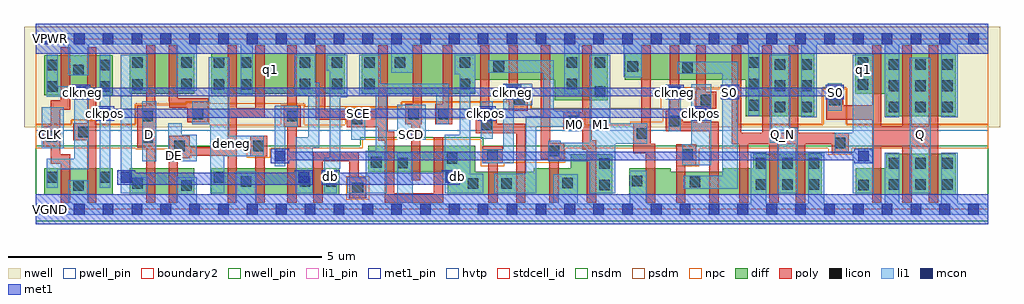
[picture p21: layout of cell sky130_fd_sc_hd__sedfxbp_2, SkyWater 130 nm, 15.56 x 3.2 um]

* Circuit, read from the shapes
.subckt sky130_fd_sc_hd__sedfxbp_2 CLK D DE Q Q_N SCD SCE VGND VNB VPB VPWR
XM1 VGND CLK n1 VNB sky130_fd_pr__nfet_01v8 w=0.42 l=0.15
XM2 n2 n1 VGND VNB sky130_fd_pr__nfet_01v8 w=0.42 l=0.15
XM3 n3 D n4 VNB sky130_fd_pr__nfet_01v8 w=0.42 l=0.15
XM4 VGND DE n3 VNB sky130_fd_pr__nfet_01v8 w=0.42 l=0.15
XM5 VGND DE n5 VNB sky130_fd_pr__nfet_01v8 w=0.42 l=0.15
XM6 n6 n5 VGND VNB sky130_fd_pr__nfet_01v8 w=0.42 l=0.15
XM7 n4 n7 n6 VNB sky130_fd_pr__nfet_01v8 w=0.42 l=0.15
XM8 n8 n9 n4 VNB sky130_fd_pr__nfet_01v8 w=0.42 l=0.15
XM9 VGND SCE n9 VNB sky130_fd_pr__nfet_01v8 w=0.42 l=0.15
XM10 n10 SCD VGND VNB sky130_fd_pr__nfet_01v8 w=0.42 l=0.15
XM11 n8 SCE n10 VNB sky130_fd_pr__nfet_01v8 w=0.42 l=0.15
XM12 n11 n1 n8 VNB sky130_fd_pr__nfet_01v8 w=0.36 l=0.15
XM13 n12 n2 n11 VNB sky130_fd_pr__nfet_01v8 w=0.36 l=0.15
XM14 VGND n13 n12 VNB sky130_fd_pr__nfet_01v8 w=0.42 l=0.15
XM15 n13 n11 VGND VNB sky130_fd_pr__nfet_01v8 w=0.64 l=0.15
XM16 n14 n13 VGND VNB sky130_fd_pr__nfet_01v8 w=0.42 l=0.15
XM17 n15 n2 n14 VNB sky130_fd_pr__nfet_01v8 w=0.36 l=0.15
XM18 n16 n1 n15 VNB sky130_fd_pr__nfet_01v8 w=0.36 l=0.15
XM19 VGND n7 n16 VNB sky130_fd_pr__nfet_01v8 w=0.42 l=0.15
XM20 Q_N n7 VGND VNB sky130_fd_pr__nfet_01v8 w=0.65 l=0.15 m=2
XM21 VGND n15 n7 VNB sky130_fd_pr__nfet_01v8 w=0.42 l=0.15
XM22 Q n15 VGND VNB sky130_fd_pr__nfet_01v8 w=0.65 l=0.15 m=2
XM23 VPWR CLK n1 VPB sky130_fd_pr__pfet_01v8_hvt w=0.64 l=0.15
XM24 n2 n1 VPWR VPB sky130_fd_pr__pfet_01v8_hvt w=0.64 l=0.15
XM25 n17 D n4 VPB sky130_fd_pr__pfet_01v8_hvt w=0.64 l=0.15
XM26 VPWR n5 n17 VPB sky130_fd_pr__pfet_01v8_hvt w=0.64 l=0.15
XM27 VPWR DE n5 VPB sky130_fd_pr__pfet_01v8_hvt w=0.64 l=0.15
XM28 n18 DE VPWR VPB sky130_fd_pr__pfet_01v8_hvt w=0.64 l=0.15
XM29 n4 n7 n18 VPB sky130_fd_pr__pfet_01v8_hvt w=0.64 l=0.15
XM30 n8 SCE n4 VPB sky130_fd_pr__pfet_01v8_hvt w=0.64 l=0.15
XM31 VPWR SCE n9 VPB sky130_fd_pr__pfet_01v8_hvt w=0.64 l=0.15
XM32 n19 SCD VPWR VPB sky130_fd_pr__pfet_01v8_hvt w=0.64 l=0.15
XM33 n8 n9 n19 VPB sky130_fd_pr__pfet_01v8_hvt w=0.64 l=0.15
XM34 n11 n2 n8 VPB sky130_fd_pr__pfet_01v8_hvt w=0.42 l=0.15
XM35 n20 n1 n11 VPB sky130_fd_pr__pfet_01v8_hvt w=0.42 l=0.15
XM36 VPWR n13 n20 VPB sky130_fd_pr__pfet_01v8_hvt w=0.42 l=0.15
XM37 n13 n11 VPWR VPB sky130_fd_pr__pfet_01v8_hvt w=0.75 l=0.15
XM38 n21 n13 VPWR VPB sky130_fd_pr__pfet_01v8_hvt w=0.42 l=0.15
XM39 n15 n1 n21 VPB sky130_fd_pr__pfet_01v8_hvt w=0.42 l=0.15
XM40 n22 n2 n15 VPB sky130_fd_pr__pfet_01v8_hvt w=0.42 l=0.15
XM41 VPWR n7 n22 VPB sky130_fd_pr__pfet_01v8_hvt w=0.42 l=0.15
XM42 Q_N n7 VPWR VPB sky130_fd_pr__pfet_01v8_hvt w=1 l=0.15 m=2
XM43 VPWR n15 n7 VPB sky130_fd_pr__pfet_01v8_hvt w=0.64 l=0.15
XM44 Q n15 VPWR VPB sky130_fd_pr__pfet_01v8_hvt w=1 l=0.15 m=2
.ends

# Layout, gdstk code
import gdstk
lib = gdstk.Library(unit=1e-6, precision=1e-09)
def R(c, l, rs):  # rectangles x0, y0, x1, y1
    for r in rs: c.add(gdstk.rectangle(r[:2], r[2:], *l))
def A(c, l, x, y, w, h, nx, ny, dx, dy):  # array of equal rectangles
    R(c, l, [(x+i*dx, y+j*dy, x+i*dx+w, y+j*dy+h) for i in range(nx) for j in range(ny)])
def P(c, l, *ps):  # polygons
    for p in ps: c.add(gdstk.Polygon(p, *l))
nwell_pin = (64, 16)
nwell = (64, 20)
diff = (65, 20)
poly = (66, 20)
licon = (66, 44)
li1_pin = (67, 16)
li1 = (67, 20)
mcon = (67, 44)
met1_pin = (68, 16)
met1 = (68, 20)
hvtp = (78, 44)
stdcell_id = (81, 4)
nsdm = (93, 44)
psdm = (94, 20)
npc = (95, 20)
pwell_pin = (122, 16)
boundary2 = (236, 0)

sky130_fd_sc_hd__sedfxbp = lib.new_cell('sky130_fd_sc_hd__sedfxbp_2')
R(sky130_fd_sc_hd__sedfxbp, nwell_pin, [(0.145,2.635,0.315,2.805), (0.145,2.635,0.315,2.805)])
P(sky130_fd_sc_hd__sedfxbp, nwell, [(-0.19,1.305),(-0.19,2.91),(15.37,2.91),(15.37,1.305),(7.2,1.305),(7.2,1.435),(4.885,1.435),(4.885,1.305)])
R(sky130_fd_sc_hd__sedfxbp, diff, [(0.135,0.235,1.225,0.655), (1.495,0.235,2.525,0.655), (2.795,0.235,4.835,0.655), (0.135,1.815,1.225,2.455), (1.495,1.845,2.525,2.485), (2.795,1.845,4.925,2.485)])
P(sky130_fd_sc_hd__sedfxbp, diff, [(8.275,1.735),(8.275,2.065),(7.005,2.065),(7.005,1.845),(5.195,1.845),(5.195,2.485),(9.12,2.485),(9.12,1.735)],
  [(6.565,0.235),(6.565,0.595),(5.3,0.595),(5.3,1.015),(7.005,1.015),(7.005,0.595),(7.935,0.595),(7.935,0.655),(8.53,0.655),(8.53,0.875),(9.19,0.875),(9.19,0.235)],
  [(11.32,1.485),(11.32,2.065),(9.39,2.065),(9.39,2.485),(12.41,2.485),(12.41,1.485)],
  [(9.46,0.235),(9.46,0.655),(10.12,0.655),(10.12,0.595),(10.96,0.595),(10.96,0.655),(11.435,0.655),(11.435,0.885),(12.525,0.885),(12.525,0.235)],
  [(13.555,1.485),(13.555,1.845),(13.06,1.845),(13.06,2.485),(14.665,2.485),(14.665,1.485)],
  [(13.07,0.235),(13.07,0.655),(13.555,0.655),(13.555,0.885),(14.665,0.885),(14.665,0.235)])
P(sky130_fd_sc_hd__sedfxbp, poly, [(0.395,0.105),(0.395,0.73),(0.235,0.73),(0.235,0.995),(0.115,0.995),(0.115,1.325),(0.235,1.325),(0.235,1.74),(0.395,1.74),(0.395,2.585),(0.545,2.585),(0.545,1.59),(0.385,1.59),(0.385,0.88),(0.545,0.88),(0.545,0.105)],
  [(0.815,0.105),(0.815,1.1),(0.595,1.1),(0.595,1.37),(0.815,1.37),(0.815,2.585),(0.965,2.585),(0.965,0.105)],
  [(1.755,0.105),(1.755,0.98),(1.615,0.98),(1.615,1.65),(1.755,1.65),(1.755,2.615),(1.905,2.615),(1.905,1.65),(1.915,1.65),(1.915,0.98),(1.905,0.98),(1.905,0.105)],
  [(2.415,1.385),(2.415,1.62),(2.125,1.62),(2.125,1.715),(2.115,1.715),(2.115,2.615),(2.265,2.615),(2.265,1.77),(2.745,1.77),(2.745,1.385)],
  [(2.115,0.105),(2.115,0.88),(2.125,0.88),(2.125,1.175),(2.455,1.175),(2.455,1),(3.055,1),(3.055,2.615),(3.205,2.615),(3.205,1.61),(3.495,1.61),(3.495,2.615),(3.645,2.615),(3.645,1.46),(3.205,1.46),(3.205,0.105),(3.055,0.105),(3.055,0.85),(2.455,0.85),(2.455,0.81),(2.265,0.81),(2.265,0.105)],
  [(3.495,0.105),(3.495,0.845),(3.415,0.845),(3.415,1.175),(3.685,1.175),(3.685,0.845),(3.645,0.845),(3.645,0.105)],
  [(4.005,0.105),(4.005,1.32),(3.955,1.32),(3.955,1.65),(4.005,1.65),(4.005,2.615),(4.155,2.615),(4.155,1.65),(4.225,1.65),(4.225,1.32),(4.155,1.32),(4.155,0.105)],
  [(4.425,0.105),(4.425,0.915),(5.145,0.915),(5.145,0.505),(5.265,0.505),(5.265,0.175),(4.995,0.175),(4.995,0.765),(4.575,0.765),(4.575,0.105)],
  [(5.98,0.465),(5.98,1.355),(5.885,1.355),(5.885,1.685),(6.005,1.685),(6.005,2.615),(6.155,2.615),(6.155,1.355),(6.13,1.355),(6.13,0.465)],
  [(5.56,0.105),(5.56,1.09),(5.46,1.09),(5.46,1.305),(4.955,1.305),(4.955,1.425),(4.465,1.425),(4.465,2.615),(4.615,2.615),(4.615,1.575),(5.46,1.575),(5.46,2.615),(5.61,2.615),(5.61,1.235),(5.71,1.235),(5.71,0.255),(6.34,0.255),(6.34,1.145),(6.49,1.145),(6.49,0.105)],
  [(6.365,1.355),(6.365,1.685),(6.485,1.685),(6.485,2.615),(6.635,2.615),(6.635,1.355)],
  [(7.215,0.105),(7.215,0.735),(7.115,0.735),(7.115,1.005),(7.445,1.005),(7.445,0.735),(7.365,0.735),(7.365,0.105)],
  [(7.655,0.105),(7.655,1.215),(7.015,1.215),(7.015,1.485),(7.08,1.485),(7.08,2.615),(7.23,2.615),(7.23,1.485),(7.345,1.485),(7.345,1.365),(7.805,1.365),(7.805,0.105)],
  [(7.535,1.575),(7.535,2.615),(7.685,2.615),(7.685,1.905),(7.84,1.905),(7.84,1.575)],
  [(8.185,0.105),(8.185,0.795),(8.05,0.795),(8.05,2.615),(8.2,2.615),(8.2,1.065),(8.42,1.065),(8.42,0.795),(8.335,0.795),(8.335,0.105)],
  [(8.78,0.105),(8.78,0.95),(8.71,0.95),(8.71,1.275),(8.41,1.275),(8.41,1.545),(8.71,1.545),(8.71,2.615),(8.86,2.615),(8.86,1.1),(8.93,1.1),(8.93,0.105)],
  [(9.72,0.105),(9.72,0.895),(9.525,0.895),(9.525,1.375),(9.65,1.375),(9.65,2.615),(9.8,2.615),(9.8,1.045),(9.87,1.045),(9.87,0.105)],
  [(10.205,0.105),(10.205,1.035),(10.525,1.035),(10.525,0.705),(10.355,0.705),(10.355,0.105)],
  [(10.52,1.605),(10.52,1.875),(10.525,1.875),(10.525,2.615),(10.675,2.615),(10.675,1.875),(10.85,1.875),(10.85,1.605)],
  [(10.735,0.105),(10.735,1.245),(10.04,1.245),(10.04,1.575),(10.105,1.575),(10.105,2.615),(10.255,2.615),(10.255,1.575),(10.31,1.575),(10.31,1.395),(10.885,1.395),(10.885,0.105)],
  [(11.21,0.105),(11.21,1.035),(11.095,1.035),(11.095,2.615),(11.245,2.615),(11.245,1.22),(11.58,1.22),(11.58,2.615),(11.73,2.615),(11.73,1.22),(12,1.22),(12,2.615),(12.15,2.615),(12.15,1.22),(12.955,1.22),(12.955,0.89),(12.685,0.89),(12.685,1.035),(12.265,1.035),(12.265,0.105),(12.115,0.105),(12.115,1.035),(11.845,1.035),(11.845,0.105),(11.695,0.105),(11.695,1.035),(11.36,1.035),(11.36,0.105)],
  [(13.33,0.105),(13.33,1.43),(12.6,1.43),(12.6,1.905),(12.87,1.905),(12.87,1.655),(13.33,1.655),(13.33,2.615),(13.48,2.615),(13.48,1.325),(13.815,1.325),(13.815,2.615),(13.965,2.615),(13.965,1.325),(14.235,1.325),(14.235,2.615),(14.385,2.615),(14.385,0.105),(14.235,0.105),(14.235,0.995),(13.965,0.995),(13.965,0.105),(13.815,0.105),(13.815,0.995),(13.48,0.995),(13.48,0.105)])
A(sky130_fd_sc_hd__sedfxbp, licon, 11.475, 0.31, 0.17, 0.17, 3, 2, 0.42, 0.34)
A(sky130_fd_sc_hd__sedfxbp, licon, 11.78, 1.545, 0.17, 0.17, 1, 3, 0, 0.34)
A(sky130_fd_sc_hd__sedfxbp, licon, 12.2, 1.545, 0.17, 0.17, 1, 3, 0, 0.34)
A(sky130_fd_sc_hd__sedfxbp, licon, 13.595, 1.545, 0.17, 0.17, 1, 3, 0, 0.34)
A(sky130_fd_sc_hd__sedfxbp, licon, 14.015, 1.545, 0.17, 0.17, 1, 3, 0, 0.34)
A(sky130_fd_sc_hd__sedfxbp, licon, 14.445, 1.545, 0.17, 0.17, 1, 3, 0, 0.34)
A(sky130_fd_sc_hd__sedfxbp, licon, 11.36, 1.575, 0.17, 0.17, 1, 3, 0, 0.34)
R(sky130_fd_sc_hd__sedfxbp, licon, [(5.045,0.255,5.215,0.425), (0.595,0.295,0.765,0.465), (2.315,0.295,2.485,0.465), (13.11,0.3,13.28,0.47), (8.98,0.305,9.15,0.475), (13.595,0.31,13.765,0.48), (14.015,0.31,14.185,0.48), (14.445,0.31,14.615,0.48), (6.885,0.325,7.055,0.495), (7.415,0.325,7.585,0.495), (1.535,0.33,1.705,0.5), (8.39,0.335,8.56,0.505), (10.42,0.35,10.59,0.52), (3.265,0.36,3.435,0.53), (4.205,0.36,4.375,0.53), (4.625,0.36,4.795,0.53), (9.5,0.365,9.67,0.535), (0.175,0.425,0.345,0.595), (1.015,0.425,1.185,0.595), (2.835,0.425,3.005,0.595), (8.98,0.645,9.15,0.815), (13.595,0.65,13.765,0.82), (14.015,0.65,14.185,0.82), (14.445,0.65,14.615,0.82), (5.76,0.655,5.93,0.825), (5.34,0.665,5.51,0.835), (6.55,0.73,6.72,0.9), (7.195,0.785,7.365,0.955), (10.305,0.785,10.475,0.955), (8.17,0.845,8.34,1.015), (2.205,0.925,2.375,1.095), (3.465,0.925,3.635,1.095), (12.735,0.97,12.905,1.14), (1.695,1.06,1.865,1.23), (0.165,1.075,0.335,1.245), (9.575,1.125,9.745,1.295), (0.675,1.15,0.845,1.32), (7.095,1.265,7.265,1.435), (8.49,1.325,8.66,1.495), (10.09,1.325,10.26,1.495), (5.035,1.355,5.205,1.525), (1.695,1.4,1.865,1.57), (4.005,1.4,4.175,1.57), (2.495,1.435,2.665,1.605), (5.935,1.435,6.105,1.605), (6.415,1.435,6.585,1.605), (7.62,1.655,7.79,1.825), (10.6,1.655,10.77,1.825), (12.65,1.655,12.82,1.825), (8.91,1.795,9.08,1.965), (0.175,1.875,0.345,2.045), (1.015,1.875,1.185,2.045), (1.535,1.905,1.705,2.075), (2.835,1.905,3.005,2.075), (3.265,1.905,3.435,2.075), (13.1,1.905,13.27,2.075), (2.315,1.915,2.485,2.085), (4.205,1.915,4.375,2.085), (4.715,1.915,4.885,2.085), (5.235,1.915,5.405,2.085), (6.755,1.915,6.925,2.085), (8.46,1.915,8.63,2.085), (0.595,2.135,0.765,2.305), (10.305,2.175,10.475,2.345), (7.295,2.19,7.465,2.36), (9.43,2.19,9.6,2.36), (0.175,2.215,0.345,2.385), (1.015,2.215,1.185,2.385), (1.535,2.255,1.705,2.425), (2.315,2.255,2.485,2.425), (2.835,2.255,3.005,2.425), (3.265,2.255,3.435,2.425), (4.205,2.255,4.375,2.425), (4.715,2.255,4.885,2.425), (5.235,2.255,5.405,2.425), (5.72,2.255,5.89,2.425), (6.755,2.255,6.925,2.425), (8.46,2.255,8.63,2.425), (8.91,2.255,9.08,2.425), (13.1,2.255,13.27,2.425)])
R(sky130_fd_sc_hd__sedfxbp, li1_pin, [(2.13,0.765,2.3,0.935), (0.145,1.105,0.315,1.275), (1.72,1.105,1.89,1.275), (5.895,1.105,6.065,1.275), (11.825,1.105,11.995,1.275), (14.015,1.105,14.185,1.275), (5.055,1.445,5.225,1.615)])
R(sky130_fd_sc_hd__sedfxbp, li1, [(13.935,0.255,14.265,2.42), (1.015,0.345,1.185,2.465), (1.695,0.765,1.915,1.72), (0.095,0.975,0.445,1.625), (5.025,1.105,5.25,1.615), (5.76,1.105,6.215,1.665), (7.095,1.125,7.28,1.72), (10.09,1.245,10.28,1.965), (12.62,1.575,12.85,2.01)])
P(sky130_fd_sc_hd__sedfxbp, li1, [(0.175,0.345),(0.175,0.805),(0.615,0.805),(0.615,1.795),(0.175,1.795),(0.175,2.465),(0.345,2.465),(0.345,1.965),(0.845,1.965),(0.845,0.635),(0.345,0.635),(0.345,0.345)],
  [(1.355,0.255),(1.355,2.465),(1.785,2.465),(1.785,1.89),(1.525,1.89),(1.525,0.515),(1.785,0.515),(1.785,0.255)],
  [(2.11,0.765),(2.11,1.37),(2.325,1.37),(2.325,1.185),(2.565,1.185),(2.565,0.765)],
  [(2.78,0.255),(2.78,1.355),(2.495,1.355),(2.495,1.72),(2.755,1.72),(2.755,2.425),(3.085,2.425),(3.085,1.175),(3.635,1.175),(3.635,0.845),(3.005,0.845),(3.005,0.255)],
  [(3.805,0.685),(3.805,1.65),(4.175,1.65),(4.175,1.32),(3.975,1.32),(3.975,0.685)],
  [(4.145,0.255),(4.145,1.15),(4.345,1.15),(4.345,1.82),(4.125,1.82),(4.125,2.465),(4.455,2.465),(4.455,2.02),(4.515,2.02),(4.515,0.98),(4.415,0.98),(4.415,0.255)],
  [(4.595,0.255),(4.595,0.825),(4.685,0.825),(4.685,2.21),(4.635,2.21),(4.635,2.465),(4.965,2.465),(4.965,1.785),(4.855,1.785),(4.855,0.645),(4.795,0.645),(4.795,0.255)],
  [(4.965,0.255),(4.965,0.515),(5.26,0.515),(5.26,0.935),(5.42,0.935),(5.42,1.835),(5.155,1.835),(5.155,2.465),(5.495,2.465),(5.495,2.005),(6.585,2.005),(6.585,1.355),(6.385,1.355),(6.385,1.835),(5.59,1.835),(5.59,0.255)],
  [(6.515,0.255),(6.515,1.185),(6.755,1.185),(6.755,2.15),(6.675,2.15),(6.675,2.465),(7.005,2.465),(7.005,1.865),(6.925,1.865),(6.925,0.565),(7.135,0.565),(7.135,0.255)],
  [(7.115,0.735),(7.115,0.955),(7.45,0.955),(7.45,2.005),(7.915,2.005),(7.915,1.655),(7.62,1.655),(7.62,0.735)],
  [(7.305,0.255),(7.305,0.565),(7.81,0.565),(7.81,1.485),(8.085,1.485),(8.085,2.175),(7.215,2.175),(7.215,2.375),(8.255,2.375),(8.255,1.575),(8.66,1.575),(8.66,1.245),(8.49,1.245),(8.49,1.315),(7.98,1.315),(7.98,0.255)],
  [(8.83,0.255),(8.83,0.765),(8.17,0.765),(8.17,1.095),(8.37,1.095),(8.37,1.065),(8.83,1.065),(8.83,2.465),(9.16,2.465),(9.16,1.375),(9.745,1.375),(9.745,1.045),(9.235,1.045),(9.235,0.255)],
  [(10.305,0.705),(10.305,1.035),(10.45,1.035),(10.45,1.995),(10.77,1.995),(10.77,0.705)],
  [(10.325,0.33),(10.325,0.535),(10.94,0.535),(10.94,2.165),(10.225,2.165),(10.225,2.355),(11.19,2.355),(11.19,0.33)],
  [(0,-0.085),(0,0.085),(0.515,0.085),(0.515,0.465),(0.845,0.465),(0.845,0.085),(2.235,0.085),(2.235,0.515),(2.565,0.515),(2.565,0.085),(3.185,0.085),(3.185,0.61),(3.515,0.61),(3.515,0.085),(5.76,0.085),(5.76,0.905),(6.01,0.905),(6.01,0.085),(8.245,0.085),(8.245,0.56),(8.64,0.56),(8.64,0.085),(9.465,0.085),(9.465,0.615),(9.74,0.615),(9.74,0.085),(11.395,0.085),(11.395,0.9),(11.645,0.9),(11.645,0.085),(12.315,0.085),(12.315,0.9),(12.565,0.9),(12.565,0.085),(13.53,0.085),(13.53,0.9),(13.765,0.9),(13.765,0.085),(14.435,0.085),(14.435,0.9),(14.695,0.9),(14.695,0.085),(15.18,0.085),(15.18,-0.085)],
  [(11.815,0.255),(11.815,1.065),(11.7,1.065),(11.7,2.465),(12.03,2.465),(12.03,1.3),(12.145,1.3),(12.145,0.255)],
  [(13.02,0.255),(13.02,0.89),(12.735,0.89),(12.735,1.22),(13.02,1.22),(13.02,2.465),(13.36,2.465),(13.36,0.255)],
  [(12.2,1.465),(12.2,2.635),(11.53,2.635),(11.53,1.495),(11.36,1.495),(11.36,2.635),(9.66,2.635),(9.66,2.105),(9.37,2.105),(9.37,2.635),(8.66,2.635),(8.66,1.835),(8.425,1.835),(8.425,2.635),(6.01,2.635),(6.01,2.175),(5.665,2.175),(5.665,2.635),(3.46,2.635),(3.46,1.825),(3.265,1.825),(3.265,2.635),(2.565,2.635),(2.565,1.89),(2.235,1.89),(2.235,2.635),(0.845,2.635),(0.845,2.135),(0.515,2.135),(0.515,2.635),(0,2.635),(0,2.805),(15.18,2.805),(15.18,2.635),(14.695,2.635),(14.695,1.465),(14.435,1.465),(14.435,2.635),(13.765,2.635),(13.765,1.465),(13.53,1.465),(13.53,2.635),(12.45,2.635),(12.45,1.465)])
A(sky130_fd_sc_hd__sedfxbp, mcon, 0.145, -0.085, 0.17, 0.17, 33, 2, 0.46, 2.72)
R(sky130_fd_sc_hd__sedfxbp, mcon, [(1.355,0.425,1.525,0.595), (4.185,0.425,4.355,0.595), (4.615,0.425,4.785,0.595), (6.53,0.425,6.7,0.595), (3.805,0.765,3.975,0.935), (13.11,0.765,13.28,0.935), (1.015,1.445,1.185,1.615), (7.1,1.445,7.27,1.615), (10.52,1.445,10.69,1.615), (0.635,1.785,0.805,1.955), (7.51,1.785,7.68,1.955), (10.1,1.785,10.27,1.955), (10.98,1.785,11.15,1.955), (12.65,1.785,12.82,1.955)])
R(sky130_fd_sc_hd__sedfxbp, met1_pin, [(0.145,-0.085,0.315,0.085), (0.145,2.635,0.315,2.805)])
R(sky130_fd_sc_hd__sedfxbp, met1, [(0,-0.24,15.18,0.24), (0,2.48,15.18,2.96)])
P(sky130_fd_sc_hd__sedfxbp, met1, [(0.575,1.755),(0.575,1.985),(0.865,1.985),(0.865,1.94),(7.45,1.94),(7.45,1.985),(7.74,1.985),(7.74,1.94),(10.04,1.94),(10.04,1.985),(10.33,1.985),(10.33,1.755),(10.04,1.755),(10.04,1.8),(7.74,1.8),(7.74,1.755),(7.45,1.755),(7.45,1.8),(0.865,1.8),(0.865,1.755)],
  [(4.555,0.395),(4.555,0.625),(4.845,0.625),(4.845,0.58),(6.47,0.58),(6.47,0.625),(6.76,0.625),(6.76,0.395)],
  [(1.295,0.395),(1.295,0.625),(1.585,0.625),(1.585,0.58),(4.125,0.58),(4.125,0.625),(4.415,0.625),(4.415,0.395)],
  [(0.955,1.415),(0.955,1.645),(1.245,1.645),(1.245,1.6),(7.04,1.6),(7.04,1.645),(7.33,1.645),(7.33,1.6),(10.46,1.6),(10.46,1.645),(10.75,1.645),(10.75,1.415),(10.46,1.415),(10.46,1.46),(7.33,1.46),(7.33,1.415),(7.04,1.415),(7.04,1.46),(1.245,1.46),(1.245,1.415)],
  [(10.92,1.755),(10.92,1.985),(11.21,1.985),(11.21,1.94),(12.59,1.94),(12.59,1.985),(12.88,1.985),(12.88,1.755),(12.59,1.755),(12.59,1.8),(11.21,1.8),(11.21,1.755)],
  [(3.745,0.735),(3.745,0.965),(4.035,0.965),(4.035,0.92),(13.05,0.92),(13.05,0.965),(13.34,0.965),(13.34,0.735),(13.05,0.735),(13.05,0.78),(4.035,0.78),(4.035,0.735)])
R(sky130_fd_sc_hd__sedfxbp, hvtp, [(0,1.25,15.18,2.72)])
R(sky130_fd_sc_hd__sedfxbp, stdcell_id, [(0,0,15.18,2.72)])
P(sky130_fd_sc_hd__sedfxbp, nsdm, [(0,-0.19),(0,1.015),(5.17,1.015),(5.17,1.145),(7.135,1.145),(7.135,1.015),(15.18,1.015),(15.18,-0.19)])
P(sky130_fd_sc_hd__sedfxbp, psdm, [(0,1.355),(0,2.91),(15.18,2.91),(15.18,1.355),(12.93,1.355),(12.93,1.935),(12.54,1.935),(12.54,1.355),(11.19,1.355),(11.19,1.935),(9.97,1.935),(9.97,1.605),(7.9,1.605),(7.9,1.935),(7.51,1.935),(7.51,1.715),(5.825,1.715),(5.825,1.635),(4.285,1.635),(4.285,1.68),(2.775,1.68),(2.775,1.715),(2.385,1.715),(2.385,1.68),(1.585,1.68),(1.585,1.355),(0.955,1.355),(0.955,1.43),(0.565,1.43),(0.565,1.355)])
R(sky130_fd_sc_hd__sedfxbp, npc, [(4.945,0.155,5.315,0.525)])
P(sky130_fd_sc_hd__sedfxbp, npc, [(7.095,0.685),(7.095,1.105),(5.21,1.105),(5.21,0.975),(3.735,0.975),(3.735,0.825),(3.365,0.825),(3.365,0.975),(2.475,0.975),(2.475,0.825),(2.105,0.825),(2.105,0.96),(1.595,0.96),(1.595,0.975),(0,0.975),(0,1.345),(0.575,1.345),(0.575,1.42),(0.945,1.42),(0.945,1.345),(1.595,1.345),(1.595,1.67),(2.395,1.67),(2.395,1.705),(2.765,1.705),(2.765,1.345),(3.905,1.345),(3.905,1.67),(4.275,1.67),(4.275,1.345),(4.935,1.345),(4.935,1.625),(5.835,1.625),(5.835,1.705),(7.52,1.705),(7.52,1.925),(7.89,1.925),(7.89,1.595),(8.76,1.595),(8.76,1.345),(9.475,1.345),(9.475,1.395),(9.99,1.395),(9.99,1.595),(10.5,1.595),(10.5,1.925),(11.18,1.925),(11.18,1.345),(12.55,1.345),(12.55,1.925),(12.92,1.925),(12.92,1.345),(15.18,1.345),(15.18,0.975),(13.005,0.975),(13.005,0.87),(12.635,0.87),(12.635,0.975),(10.575,0.975),(10.575,0.685),(10.205,0.685),(10.205,0.975),(8.44,0.975),(8.44,0.745),(7.465,0.745),(7.465,0.685)])
R(sky130_fd_sc_hd__sedfxbp, pwell_pin, [(0.145,-0.085,0.315,0.085), (0.145,-0.085,0.315,0.085)])
R(sky130_fd_sc_hd__sedfxbp, boundary2, [(0,0,15.18,2.72)])
sky130_fd_sc_hd__sedfxbp.add(gdstk.Label('CLK', (0.23,1.19), layer=67, texttype=5))
sky130_fd_sc_hd__sedfxbp.add(gdstk.Label('Q_N', (11.91,1.19), layer=67, texttype=5))
sky130_fd_sc_hd__sedfxbp.add(gdstk.Label('SCD', (5.98,1.19), layer=67, texttype=5))
sky130_fd_sc_hd__sedfxbp.add(gdstk.Label('DE', (2.215,0.85), layer=67, texttype=5))
sky130_fd_sc_hd__sedfxbp.add(gdstk.Label('D', (1.805,1.19), layer=67, texttype=5))
sky130_fd_sc_hd__sedfxbp.add(gdstk.Label('Q', (14.1,1.19), layer=67, texttype=5))
sky130_fd_sc_hd__sedfxbp.add(gdstk.Label('SCE', (5.14,1.53), layer=67, texttype=5))
sky130_fd_sc_hd__sedfxbp.add(gdstk.Label('VPWR', (0.23,2.72), layer=68, texttype=5))
sky130_fd_sc_hd__sedfxbp.add(gdstk.Label('VGND', (0.23,0), layer=68, texttype=5))
sky130_fd_sc_hd__sedfxbp.add(gdstk.Label('VPB', (0.23,2.72), layer=64, texttype=5))
sky130_fd_sc_hd__sedfxbp.add(gdstk.Label('VPB', (0.23,2.72), layer=64, texttype=5))
sky130_fd_sc_hd__sedfxbp.add(gdstk.Label('VNB', (0.23,0), layer=64, texttype=59))
sky130_fd_sc_hd__sedfxbp.add(gdstk.Label('VNB', (0.23,0), layer=64, texttype=59))
sky130_fd_sc_hd__sedfxbp.add(gdstk.Label('VNB', (0.23,0), layer=64, texttype=59))
sky130_fd_sc_hd__sedfxbp.add(gdstk.Label('sedfxbp_1', (0,0), layer=83, texttype=44))
sky130_fd_sc_hd__sedfxbp.add(gdstk.Label('clkpos', (7.165,1.52), layer=83, texttype=44))
sky130_fd_sc_hd__sedfxbp.add(gdstk.Label('clkneg', (7.6,1.87), layer=83, texttype=44))
sky130_fd_sc_hd__sedfxbp.add(gdstk.Label('S0', (12.745,1.87), layer=83, texttype=44))
sky130_fd_sc_hd__sedfxbp.add(gdstk.Label('clkpos', (1.095,1.52), layer=83, texttype=44))
sky130_fd_sc_hd__sedfxbp.add(gdstk.Label('clkneg', (0.735,1.87), layer=83, texttype=44))
sky130_fd_sc_hd__sedfxbp.add(gdstk.Label('deneg', (3.115,1.045), layer=83, texttype=44))
sky130_fd_sc_hd__sedfxbp.add(gdstk.Label('db', (4.695,0.52), layer=83, texttype=44))
sky130_fd_sc_hd__sedfxbp.add(gdstk.Label('q1', (3.745,2.23), layer=83, texttype=44))
sky130_fd_sc_hd__sedfxbp.add(gdstk.Label('q1', (13.2,2.23), layer=83, texttype=44))
sky130_fd_sc_hd__sedfxbp.add(gdstk.Label('clkpos', (10.6,1.52), layer=83, texttype=44))
sky130_fd_sc_hd__sedfxbp.add(gdstk.Label('clkneg', (10.185,1.87), layer=83, texttype=44))
sky130_fd_sc_hd__sedfxbp.add(gdstk.Label('db', (6.715,0.52), layer=83, texttype=44))
sky130_fd_sc_hd__sedfxbp.add(gdstk.Label('S0', (11.06,1.87), layer=83, texttype=44))
sky130_fd_sc_hd__sedfxbp.add(gdstk.Label('sceneg', (5.495,1.72), layer=83, texttype=44))
sky130_fd_sc_hd__sedfxbp.add(gdstk.Label('M0', (8.58,1.345), layer=83, texttype=44))
sky130_fd_sc_hd__sedfxbp.add(gdstk.Label('M1', (9.01,1.345), layer=83, texttype=44))

lib.write_gds('sky130_fd_sc_hd__sedfxbp_2.gds')
